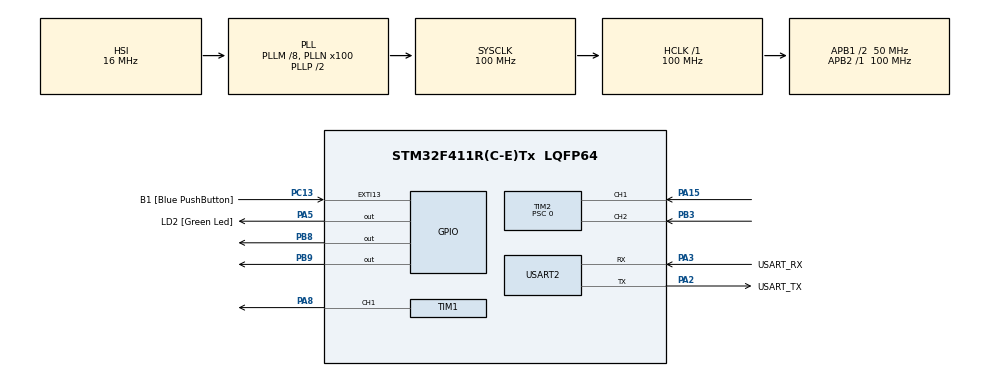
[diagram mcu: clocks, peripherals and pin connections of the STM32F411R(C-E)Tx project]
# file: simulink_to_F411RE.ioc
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Dma.Request0=USART2_RX
Dma.USART2_RX.0.Direction=DMA_PERIPH_TO_MEMORY
Dma.USART2_RX.0.FIFOMode=DMA_FIFOMODE_DISABLE
Dma.USART2_RX.0.Instance=DMA1_Stream5
Dma.USART2_RX.0.MemDataAlignment=DMA_MDATAALIGN_BYTE
Dma.USART2_RX.0.MemInc=DMA_MINC_ENABLE
Dma.USART2_RX.0.Mode=DMA_CIRCULAR
Dma.USART2_RX.0.PeriphDataAlignment=DMA_PDATAALIGN_BYTE
Dma.USART2_RX.0.PeriphInc=DMA_PINC_DISABLE
Dma.USART2_RX.0.Priority=DMA_PRIORITY_LOW
Mcu.Family=STM32F4
Mcu.Name=STM32F411R(C-E)Tx
Mcu.Package=LQFP64
NVIC.DMA1_Stream5_IRQn=true\:0\:0\:false\:false\:true\:false\:true\:true
NVIC.PriorityGroup=NVIC_PRIORITYGROUP_0
NVIC.TIM5_IRQn=true\:0\:0\:false\:false\:true\:true\:true\:true
NVIC.USART2_IRQn=true\:0\:0\:false\:false\:true\:true\:true\:true
PA13.GPIO_Label=TMS
PA13.Mode=Serial_Wire
PA13.Signal=SYS_JTMS-SWDIO
PA14.GPIO_Label=TCK
PA14.Mode=Serial_Wire
PA14.Signal=SYS_JTCK-SWCLK
PA15.Signal=S_TIM2_CH1_ETR
PA2.GPIO_Label=USART_TX
PA2.Mode=Asynchronous
PA2.Signal=USART2_TX
PA3.GPIO_Label=USART_RX
PA3.Mode=Asynchronous
PA3.Signal=USART2_RX
PA5.GPIO_Label=LD2 [Green Led]
PA5.Signal=GPIO_Output
PA8.Signal=S_TIM1_CH1
PB3.Signal=S_TIM2_CH2
PB8.GPIO_ModeDefaultOutputPP=GPIO_MODE_OUTPUT_OD
PB8.GPIO_PuPd=GPIO_PULLUP
PB8.Signal=GPIO_Output
PB9.GPIO_ModeDefaultOutputPP=GPIO_MODE_OUTPUT_OD
PB9.GPIO_PuPd=GPIO_PULLUP
PB9.Signal=GPIO_Output
PC13-ANTI_TAMP.GPIO_Label=B1 [Blue PushButton]
PC13-ANTI_TAMP.GPIO_ModeDefaultEXTI=GPIO_MODE_IT_FALLING
PC13-ANTI_TAMP.Signal=GPXTI13
PC14-OSC32_IN.Mode=LSE-External-Oscillator
PC14-OSC32_IN.Signal=RCC_OSC32_IN
PC15-OSC32_OUT.Mode=LSE-External-Oscillator
PC15-OSC32_OUT.Signal=RCC_OSC32_OUT
PH0\ -\ OSC_IN.Mode=HSE-External-Clock-Source
PH0\ -\ OSC_IN.Signal=RCC_OSC_IN
PH1\ -\ OSC_OUT.Mode=HSE-External-Clock-Source
PH1\ -\ OSC_OUT.Signal=RCC_OSC_OUT
ProjectManager.HeapSize=0x200
ProjectManager.StackSize=0x400
ProjectManager.TargetToolchain=STM32CubeIDE
RCC.48MHZClocksFreq_Value=50000000
RCC.AHBFreq_Value=100000000
RCC.APB1CLKDivider=RCC_HCLK_DIV2
RCC.APB1Freq_Value=50000000
RCC.APB1TimFreq_Value=100000000
RCC.APB2Freq_Value=100000000
RCC.APB2TimFreq_Value=100000000
RCC.CortexFreq_Value=100000000
RCC.FLatency-AdvancedSettings=FLASH_LATENCY_3
RCC.HCLKFreq_Value=100000000
RCC.HSE_VALUE=8000000
RCC.HSI_VALUE=16000000
RCC.PLLM=8
RCC.PLLN=100
RCC.SYSCLKFreq_VALUE=100000000
RCC.SYSCLKSource=RCC_SYSCLKSOURCE_PLLCLK
RCC.VCOOutputFreq_Value=200000000
SH.S_TIM1_CH1.0=TIM1_CH1,PWM Generation1 CH1
SH.S_TIM2_CH1_ETR.0=TIM2_CH1,Encoder_Interface
SH.S_TIM2_CH2.0=TIM2_CH2,Encoder_Interface
TIM1.Channel-PWM\ Generation1\ CH1=TIM_CHANNEL_1
TIM1.Period=9999
TIM1.Prescaler=99
TIM2.EncoderMode=TIM_ENCODERMODE_TI12
TIM2.IC1Filter=4
TIM2.IC2Filter=4
TIM2.Period=3071
TIM2.Prescaler=0
TIM5.Period=9999
TIM5.Prescaler=99
USART2.VirtualMode=VM_ASYNC
VP_TIM1_VS_ClockSourceINT.Mode=Internal
VP_TIM5_VS_ClockSourceINT.Mode=Internal
board=NUCLEO-F411RE

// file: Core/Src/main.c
/* USER CODE BEGIN Header */
/**
  ******************************************************************************
  * @file           : main.c
  * @brief          : Main program body
  ******************************************************************************
  * @attention
  *
  * <h2><center>&copy; Copyright (c) 2022 STMicroelectronics.
  * All rights reserved.</center></h2>
  *
  * This software component is licensed by ST under BSD 3-Clause license,
  * the "License"; You may not use this file except in compliance with the
  * License. You may obtain a copy of the License at:
  *                        opensource.org/licenses/BSD-3-Clause
  *
  ******************************************************************************
  */
/* USER CODE END Header */
#include "main.h"

/* USER CODE BEGIN Includes */
#include "math.h"
/* USER CODE END Includes */

 TIM_HandleTypeDef htim1;
TIM_HandleTypeDef htim2;
TIM_HandleTypeDef htim5;

UART_HandleTypeDef huart2;
DMA_HandleTypeDef hdma_usart2_rx;

/* USER CODE BEGIN PV */
int8_t RxBuffer[64]={0};
uint8_t data[7]={73,109,64,99,0,0,126};

//float iniAngle = 0;
float finAngle = 360.0;
float veloMax = (2*math.pi*10)/60;
float accelMax = 0.5;
float jerkMax = 0.4;
float destAngle;
float timePeriod[7] = {0};
float b[7], c[7], d[7];
float posOut, veloOut, accelOut, jerkOut;
float timeElapsed;
float samplingTime = 0.001;
/* USER CODE END PV */

void SystemClock_Config(void);
static void MX_GPIO_Init(void);
static void MX_DMA_Init(void);
static void MX_USART2_UART_Init(void);
static void MX_TIM1_Init(void);
static void MX_TIM5_Init(void);
static void MX_TIM2_Init(void);
/* USER CODE BEGIN PFP */
//void uartprotocol();
void Drivemotor(int PWM);
void trajectoryGen(float toAngle);
void trajectoryEval();
void PID();
/* USER CODE END PFP */

int main(void)
{

  /* MCU Configuration--------------------------------------------------------*/

  /* Reset of all peripherals, Initializes the Flash interface and the Systick. */
  HAL_Init();

  /* Configure the system clock */
  SystemClock_Config();

  /* Initialize all configured peripherals */
  MX_GPIO_Init();
  MX_DMA_Init();
  MX_USART2_UART_Init();
  MX_TIM1_Init();
  MX_TIM5_Init();
  MX_TIM2_Init();
  /* USER CODE BEGIN 2 */

  HAL_UART_Receive_DMA(&huart2,RxBuffer, 64);
  HAL_TIM_PWM_Start(&htim1, TIM_CHANNEL_1);

  HAL_TIM_Encoder_Start(&htim2,TIM_CHANNEL_ALL);
  HAL_UART_Transmit_IT(&huart2, data, 7);
  HAL_TIM_Base_Start_IT(&htim5);
  /* USER CODE END 2 */

  /* Infinite loop */
  /* USER CODE BEGIN WHILE */
  while (1)
  {
	  uartprotocol();

	  trajectoryGen(destAngle);

    /* USER CODE END WHILE */

  }
}

void SystemClock_Config(void)
{
  RCC_OscInitTypeDef RCC_OscInitStruct = {0};
  RCC_ClkInitTypeDef RCC_ClkInitStruct = {0};

  /** Configure the main internal regulator output voltage
  */
  __HAL_RCC_PWR_CLK_ENABLE();
  __HAL_PWR_VOLTAGESCALING_CONFIG(PWR_REGULATOR_VOLTAGE_SCALE1);

  /** Initializes the RCC Oscillators according to the specified parameters
  * in the RCC_OscInitTypeDef structure.
  */
  RCC_OscInitStruct.OscillatorType = RCC_OSCILLATORTYPE_HSI;
  RCC_OscInitStruct.HSIState = RCC_HSI_ON;
  RCC_OscInitStruct.HSICalibrationValue = RCC_HSICALIBRATION_DEFAULT;
  RCC_OscInitStruct.PLL.PLLState = RCC_PLL_ON;
  RCC_OscInitStruct.PLL.PLLSource = RCC_PLLSOURCE_HSI;
  RCC_OscInitStruct.PLL.PLLM = 8;
  RCC_OscInitStruct.PLL.PLLN = 100;
  RCC_OscInitStruct.PLL.PLLP = RCC_PLLP_DIV2;
  RCC_OscInitStruct.PLL.PLLQ = 4;
  if (HAL_RCC_OscConfig(&RCC_OscInitStruct) != HAL_OK)
  {
    Error_Handler();
  }

  /** Initializes the CPU, AHB and APB buses clocks
  */
  RCC_ClkInitStruct.ClockType = RCC_CLOCKTYPE_HCLK|RCC_CLOCKTYPE_SYSCLK
                              |RCC_CLOCKTYPE_PCLK1|RCC_CLOCKTYPE_PCLK2;
  RCC_ClkInitStruct.SYSCLKSource = RCC_SYSCLKSOURCE_PLLCLK;
  RCC_ClkInitStruct.AHBCLKDivider = RCC_SYSCLK_DIV1;
  RCC_ClkInitStruct.APB1CLKDivider = RCC_HCLK_DIV2;
  RCC_ClkInitStruct.APB2CLKDivider = RCC_HCLK_DIV1;

  if (HAL_RCC_ClockConfig(&RCC_ClkInitStruct, FLASH_LATENCY_3) != HAL_OK)
  {
    Error_Handler();
  }
}

static void MX_TIM1_Init(void)
{

  TIM_ClockConfigTypeDef sClockSourceConfig = {0};
  TIM_MasterConfigTypeDef sMasterConfig = {0};
  TIM_OC_InitTypeDef sConfigOC = {0};
  TIM_BreakDeadTimeConfigTypeDef sBreakDeadTimeConfig = {0};

  htim1.Instance = TIM1;
  htim1.Init.Prescaler = 99;
  htim1.Init.CounterMode = TIM_COUNTERMODE_UP;
  htim1.Init.Period = 9999;
  htim1.Init.ClockDivision = TIM_CLOCKDIVISION_DIV1;
  htim1.Init.RepetitionCounter = 0;
  htim1.Init.AutoReloadPreload = TIM_AUTORELOAD_PRELOAD_DISABLE;
  if (HAL_TIM_Base_Init(&htim1) != HAL_OK)
  {
    Error_Handler();
  }
  sClockSourceConfig.ClockSource = TIM_CLOCKSOURCE_INTERNAL;
  if (HAL_TIM_ConfigClockSource(&htim1, &sClockSourceConfig) != HAL_OK)
  {
    Error_Handler();
  }
  if (HAL_TIM_PWM_Init(&htim1) != HAL_OK)
  {
    Error_Handler();
  }
  sMasterConfig.MasterOutputTrigger = TIM_TRGO_RESET;
  sMasterConfig.MasterSlaveMode = TIM_MASTERSLAVEMODE_DISABLE;
  if (HAL_TIMEx_MasterConfigSynchronization(&htim1, &sMasterConfig) != HAL_OK)
  {
    Error_Handler();
  }
  sConfigOC.OCMode = TIM_OCMODE_PWM1;
  sConfigOC.Pulse = 0;
  sConfigOC.OCPolarity = TIM_OCPOLARITY_HIGH;
  sConfigOC.OCNPolarity = TIM_OCNPOLARITY_HIGH;
  sConfigOC.OCFastMode = TIM_OCFAST_DISABLE;
  sConfigOC.OCIdleState = TIM_OCIDLESTATE_RESET;
  sConfigOC.OCNIdleState = TIM_OCNIDLESTATE_RESET;
  if (HAL_TIM_PWM_ConfigChannel(&htim1, &sConfigOC, TIM_CHANNEL_1) != HAL_OK)
  {
    Error_Handler();
  }
  sBreakDeadTimeConfig.OffStateRunMode = TIM_OSSR_DISABLE;
  sBreakDeadTimeConfig.OffStateIDLEMode = TIM_OSSI_DISABLE;
  sBreakDeadTimeConfig.LockLevel = TIM_LOCKLEVEL_OFF;
  sBreakDeadTimeConfig.DeadTime = 0;
  sBreakDeadTimeConfig.BreakState = TIM_BREAK_DISABLE;
  sBreakDeadTimeConfig.BreakPolarity = TIM_BREAKPOLARITY_HIGH;
  sBreakDeadTimeConfig.AutomaticOutput = TIM_AUTOMATICOUTPUT_DISABLE;
  if (HAL_TIMEx_ConfigBreakDeadTime(&htim1, &sBreakDeadTimeConfig) != HAL_OK)
  {
    Error_Handler();
  }
  HAL_TIM_MspPostInit(&htim1);

}

static void MX_TIM2_Init(void)
{

  TIM_Encoder_InitTypeDef sConfig = {0};
  TIM_MasterConfigTypeDef sMasterConfig = {0};

  htim2.Instance = TIM2;
  htim2.Init.Prescaler = 0;
  htim2.Init.CounterMode = TIM_COUNTERMODE_UP;
  htim2.Init.Period = 3071;
  htim2.Init.ClockDivision = TIM_CLOCKDIVISION_DIV1;
  htim2.Init.AutoReloadPreload = TIM_AUTORELOAD_PRELOAD_DISABLE;
  sConfig.EncoderMode = TIM_ENCODERMODE_TI12;
  sConfig.IC1Polarity = TIM_ICPOLARITY_RISING;
  sConfig.IC1Selection = TIM_ICSELECTION_DIRECTTI;
  sConfig.IC1Prescaler = TIM_ICPSC_DIV1;
  sConfig.IC1Filter = 4;
  sConfig.IC2Polarity = TIM_ICPOLARITY_RISING;
  sConfig.IC2Selection = TIM_ICSELECTION_DIRECTTI;
  sConfig.IC2Prescaler = TIM_ICPSC_DIV1;
  sConfig.IC2Filter = 4;
  if (HAL_TIM_Encoder_Init(&htim2, &sConfig) != HAL_OK)
  {
    Error_Handler();
  }
  sMasterConfig.MasterOutputTrigger = TIM_TRGO_RESET;
  sMasterConfig.MasterSlaveMode = TIM_MASTERSLAVEMODE_DISABLE;
  if (HAL_TIMEx_MasterConfigSynchronization(&htim2, &sMasterConfig) != HAL_OK)
  {
    Error_Handler();
  }

}

static void MX_TIM5_Init(void)
{

  TIM_ClockConfigTypeDef sClockSourceConfig = {0};
  TIM_MasterConfigTypeDef sMasterConfig = {0};

  htim5.Instance = TIM5;
  htim5.Init.Prescaler = 99;
  htim5.Init.CounterMode = TIM_COUNTERMODE_UP;
  htim5.Init.Period = 9999;
  htim5.Init.ClockDivision = TIM_CLOCKDIVISION_DIV1;
  htim5.Init.AutoReloadPreload = TIM_AUTORELOAD_PRELOAD_DISABLE;
  if (HAL_TIM_Base_Init(&htim5) != HAL_OK)
  {
    Error_Handler();
  }
  sClockSourceConfig.ClockSource = TIM_CLOCKSOURCE_INTERNAL;
  if (HAL_TIM_ConfigClockSource(&htim5, &sClockSourceConfig) != HAL_OK)
  {
    Error_Handler();
  }
  sMasterConfig.MasterOutputTrigger = TIM_TRGO_RESET;
  sMasterConfig.MasterSlaveMode = TIM_MASTERSLAVEMODE_DISABLE;
  if (HAL_TIMEx_MasterConfigSynchronization(&htim5, &sMasterConfig) != HAL_OK)
  {
    Error_Handler();
  }

}

static void MX_USART2_UART_Init(void)
{

  huart2.Instance = USART2;
  huart2.Init.BaudRate = 115200;
  huart2.Init.WordLength = UART_WORDLENGTH_8B;
  huart2.Init.StopBits = UART_STOPBITS_1;
  huart2.Init.Parity = UART_PARITY_NONE;
  huart2.Init.Mode = UART_MODE_TX_RX;
  huart2.Init.HwFlowCtl = UART_HWCONTROL_NONE;
  huart2.Init.OverSampling = UART_OVERSAMPLING_16;
  if (HAL_UART_Init(&huart2) != HAL_OK)
  {
    Error_Handler();
  }

}

static void MX_DMA_Init(void)
{

  /* DMA controller clock enable */
  __HAL_RCC_DMA1_CLK_ENABLE();

  /* DMA interrupt init */
  /* DMA1_Stream5_IRQn interrupt configuration */
  HAL_NVIC_SetPriority(DMA1_Stream5_IRQn, 0, 0);
  HAL_NVIC_EnableIRQ(DMA1_Stream5_IRQn);

}

static void MX_GPIO_Init(void)
{
  GPIO_InitTypeDef GPIO_InitStruct = {0};

  /* GPIO Ports Clock Enable */
  __HAL_RCC_GPIOC_CLK_ENABLE();
  __HAL_RCC_GPIOH_CLK_ENABLE();
  __HAL_RCC_GPIOA_CLK_ENABLE();
  __HAL_RCC_GPIOB_CLK_ENABLE();

  /*Configure GPIO pin Output Level */
  HAL_GPIO_WritePin(LD2_GPIO_Port, LD2_Pin, GPIO_PIN_RESET);

  /*Configure GPIO pin Output Level */
  HAL_GPIO_WritePin(GPIOB, GPIO_PIN_8|GPIO_PIN_9, GPIO_PIN_RESET);

  /*Configure GPIO pin : B1_Pin */
  GPIO_InitStruct.Pin = B1_Pin;
  GPIO_InitStruct.Mode = GPIO_MODE_IT_FALLING;
  GPIO_InitStruct.Pull = GPIO_NOPULL;
  HAL_GPIO_Init(B1_GPIO_Port, &GPIO_InitStruct);

  /*Configure GPIO pin : LD2_Pin */
  GPIO_InitStruct.Pin = LD2_Pin;
  GPIO_InitStruct.Mode = GPIO_MODE_OUTPUT_PP;
  GPIO_InitStruct.Pull = GPIO_NOPULL;
  GPIO_InitStruct.Speed = GPIO_SPEED_FREQ_LOW;
  HAL_GPIO_Init(LD2_GPIO_Port, &GPIO_InitStruct);

  /*Configure GPIO pins : PB8 PB9 */
  GPIO_InitStruct.Pin = GPIO_PIN_8|GPIO_PIN_9;
  GPIO_InitStruct.Mode = GPIO_MODE_OUTPUT_OD;
  GPIO_InitStruct.Pull = GPIO_PULLUP;
  GPIO_InitStruct.Speed = GPIO_SPEED_FREQ_LOW;
  HAL_GPIO_Init(GPIOB, &GPIO_InitStruct);

}

/* USER CODE BEGIN 4 */
uint8_t Posdata=0;
uint8_t PosdataPre=0;

int32_t valueuart=0;
uint8_t stateuart=0;
//void uartprotocol(){
//	static int8_t tempuart=0;
//	Posdata=huart2.RxXferSize-huart2.hdmarx->Instance->NDTR;
//	if(Posdata!=PosdataPre ){
//
//
//		switch(stateuart){
//			case 0:
//				if(RxBuffer[PosdataPre]==73){
//					stateuart=1;
//
//				}else{
//					stateuart=0;
//				}
//			break;
//			case 1:
//				if(RxBuffer[PosdataPre]==109){
//					stateuart=2;
//
//				}else{
//					stateuart=0;
//				}
//			break;
//			case 2:
//				if(RxBuffer[PosdataPre]==64){
//					stateuart=3;
//
//				}else{
//					stateuart=0;
//				}
//			break;
//			case 3:
//				if(RxBuffer[PosdataPre]==99){
//					stateuart=4;
//
//				}else{
//					stateuart=0;
//				}
//			break;
//			case 4:
//				tempuart=RxBuffer[PosdataPre];
//				stateuart=5;
//			break;
//			case 5:
//				if(RxBuffer[PosdataPre]==126){
//					valueuart=(int32_t)tempuart;
//					valueuart=(valueuart*500)/127;
////					htim1.Instance->CCR1=(valueuart*10000)/255;
//					Drivemotor(valueuart);
//					stateuart=0;
//				}else{
//					stateuart=0;
//				}
//			break;
//
//		}
//
//
//
//
//		PosdataPre=(PosdataPre+1)%64;
//	}
//
//
//
//}

uint16_t value=0;
void HAL_TIM_PeriodElapsedCallback(TIM_HandleTypeDef *htim){
	if (htim == &htim5){
		value=htim2.Instance->CNT;
		data[5]=(value&0b1111111100000000) >>8;
		data[4]=value&0b11111111;
		HAL_UART_Transmit_IT(&huart2, data, 7);
	}
}

uint32_t aaabs(int x){

	if(x<0){
		return x*-1;
	}else{
		return x;
	}
}

void Drivemotor(int PWM){
	if(PWM<=0 && PWM>=-500){
		htim1.Instance->CCR1=aaabs(PWM);
		HAL_GPIO_WritePin(GPIOA, GPIO_PIN_9,0);
	}else if (PWM<-500){
		htim1.Instance->CCR1=500;
		HAL_GPIO_WritePin(GPIOA, GPIO_PIN_9,0);
	}else if(PWM>=0 && PWM<=500){
		htim1.Instance->CCR1=aaabs(PWM);
		HAL_GPIO_WritePin(GPIOA, GPIO_PIN_9,1);
	}else if(PWM>500){
		htim1.Instance->CCR1=500;
		HAL_GPIO_WritePin(GPIOA, GPIO_PIN_9,1);
	}
}

void trajectoryGen(){
	totalTime = (accelMax/jerkMax) + (veloMax/accelMax) + (finAngle/veloMax);
	timePeriod[0] = accelMax/jerkMax;
	timePeriod[1] = (veloMax/accelMax);
	timePeriod[2] = (accelMax/jerkMax) + (veloMax/accelMax);
	timePeriod[3] = totalTime - timePeriod[2];
	timePeriod[4] = totalTime - timePeriod[1];
	timePeriod[5] = totalTime - timePeriod[0];
	timePeriod[6] = totalTime;

	b[0] = 0;
	b[1] = accelMax;
	b[2] = accelMax + (jerkMax*timePeriod[1]);
	b[3] = 0;
	b[4] = jerkMax*timePeriod[3];
	b[5] = -accelMax;
	b[6] = -accelMax - (jerkMax*timePeriod[5]);

	c[0] = 0;
	c[1] = ((jerkMax*timePeriod[0]^2)/2 + b[0]*timePeriod[0] + c[0]) - ((0*timePeriod[0]^2)/2 + b[1]*timePeriod[0]);
	c[2] = ((0*timePeriod[1]^2)/2 + b[1]*timePeriod[1] + c[1]) - ((-jerkMax*timePeriod[1]^2)/2 + b[2]*timePeriod[1]);
	c[3] = ((-jerkMax*timePeriod[2]^2)/2 + b[2]*timePeriod[2] + c[2]) - ((0*timePeriod[2]^2)/2 + b[3]*timePeriod[2]);
	c[4] = ((0*timePeriod[3]^2)/2 + b[3]*timePeriod[3] + c[3]) - ((-jerkMax*timePeriod[3]^2)/2 + b[4]*timePeriod[3]);
	c[5] = ((-jerkMax*timePeriod[4]^2)/2 + b[4]*timePeriod[4] + c[4]) - ((0*timePeriod[4]^2)/2 + b[5]*timePeriod[4]);
	c[6] = ((0*timePeriod[5]^2)/2 + b[5]*timePeriod[5] + c[5]) - ((jerkMax*timePeriod[5]^2)/2 + b[6]*timePeriod[5]);

	d[0] = 0;
	d[1] = ((jerkMax*timePeriod[0]^3)/6 + (b[0]*timePeriod[0]^2)/2 + c[0]*timePeriod[0] + d[0]) - ((0*timePeriod[0]^3)/6 + (b[1]*timePeriod[0]^2)/2 + c[1]*timePeriod[0]);
	d[2] = ((0*timePeriod[1]^3)/6 + (b[1]*timePeriod[1]^2)/2 + c[1]*timePeriod[1] + d[1]) - ((-jerkMax*timePeriod[1]^3)/6 + (b[2]*timePeriod[1]^2)/2 + c[2]*timePeriod[1]);
	d[3] = ((-jerkMax*timePeriod[2]^3)/6 + (b[2]*timePeriod[2]^2)/2 + c[2]*timePeriod[2] + d[2]) - ((0*timePeriod[2]^3)/6 + (b[3]*timePeriod[2]^2)/2 + c[3]*timePeriod[2]);
	d[4] = ((0*timePeriod[3]^3)/6 + (b[3]*timePeriod[3]^2)/2 + c[3]*timePeriod[3] + d[3]) - ((-jerkMax*timePeriod[3]^3)/6 + (b[4]*timePeriod[3]^2)/2 + c[4]*timePeriod[3]);
	d[5] = ((-jerkMax*timePeriod[4]^3)/6 + (b[4]*timePeriod[4]^2)/2 + c[4]*timePeriod[4] + d[4]) - ((0*timePeriod[4]^3)/6 + (b[5]*timePeriod[4]^2)/2 + c[5]*timePeriod[4]);
	d[6] = ((0*timePeriod[5]^3)/6 + (b[5]*timePeriod[5]^2)/2 + c[5]*timePeriod[5] + d[5]) - ((jerkMax*timePeriod[5]^3)/6 + (b[6]*timePeriod[5]^2)/2 + c[6]*timePeriod[5]);

//	iniAngle = (iniAngle + toAngle) % 360;
}

void trajectoryEval(){
	if (timeElapsed >= 0 && timeElapsed < timePeriod[0]){
		accelOut = jerkMax*timeElapsed + b[0];
	    jerkOut = jerkMax;
	    veloOut = jerkMax*timeElapsed^2/2 + b[0]*timeElapsed + c[0];
	    posOut = jerkMax*timeElapsed^3/6 + b[0]*timeElapsed^2/2 + c[0]*timeElapsed + d[0];
	}

	else if (timeElapsed >= timePeriod[0] && timeElapsed < timePeriod[1]){
		accelOut = 0*timeElapsed + b[1];
	    jerkOut = 0;
	    veloOut = 0*timeElapsed^2/2 + b[1]*timeElapsed + c[1];
	    posOut = 0*timeElapsed^3/6 + b[1]*timeElapsed^2/2 + c[1]*timeElapsed + d[1];
	}

	else if (timeElapsed >= timePeriod[1] && timeElapsed < timePeriod[2]){
		accelOut = -jerkMax*timeElapsed + b[2];
	    jerkOut = -jerkMax;
	    veloOut = -jerkMax*timeElapsed^2/2 + b[2]*timeElapsed + c[2];
	    posOut = -jerkMax*timeElapsed^3/6 + b[2]*timeElapsed^2/2 + c[2]*timeElapsed + d[2];
	}

	else if (timeElapsed >= timePeriod[2] && timeElapsed < timePeriod[3]){
		accelOut = 0*timeElapsed + b[3];
	    jerkOut = 0;
	    veloOut = 0*timeElapsed^2/2 + b[3]*timeElapsed + c[3];
	    posOut = 0*timeElapsed^3/6 + b[3]*timeElapsed^2/2 + c[3]*timeElapsed + d[3];
	}

	else if (timeElapsed >= timePeriod[3] && timeElapsed < timePeriod[4]){
		accelOut = -jerkMax*timeElapsed + b[4];
	    jerkOut = -jerkMax;
	    veloOut = -jerkMax*timeElapsed^2/2 + b[4]*timeElapsed + c[4];
	    posOut = -jerkMax*timeElapsed^3/6 + b[4]*timeElapsed^2/2 + c[4]*timeElapsed + d[4];
	}

	else if (timeElapsed >= timePeriod[4] && timeElapsed < timePeriod[5]){
		accelOut = 0*timeElapsed + b[5];
	    jerkOut = 0;
	    veloOut = 0*timeElapsed^2/2 + b[5]*timeElapsed + c[5];
	    posOut = 0*timeElapsed^3/6 + b[5]*timeElapsed^2/2 + c[5]*timeElapsed + d[5];
	}

	else{
		accelOut = jerkMax*timeElapsed + b[6];
	    jerkOut = jerkMax;
	    veloOut = jerkMax*timeElapsed^2/2 + b[6]*timeElapsed + c[6];
	    posOut = jerkMax*timeElapsed^3/6 + b[6]*timeElapsed^2/2 + c[6]*timeElapsed + d[6];
	}
}

void PIDController(){
	float ohHibub = 0;
}
/* USER CODE END 4 */

void Error_Handler(void)
{
  __disable_irq();
  while (1)
  {
  }
}
